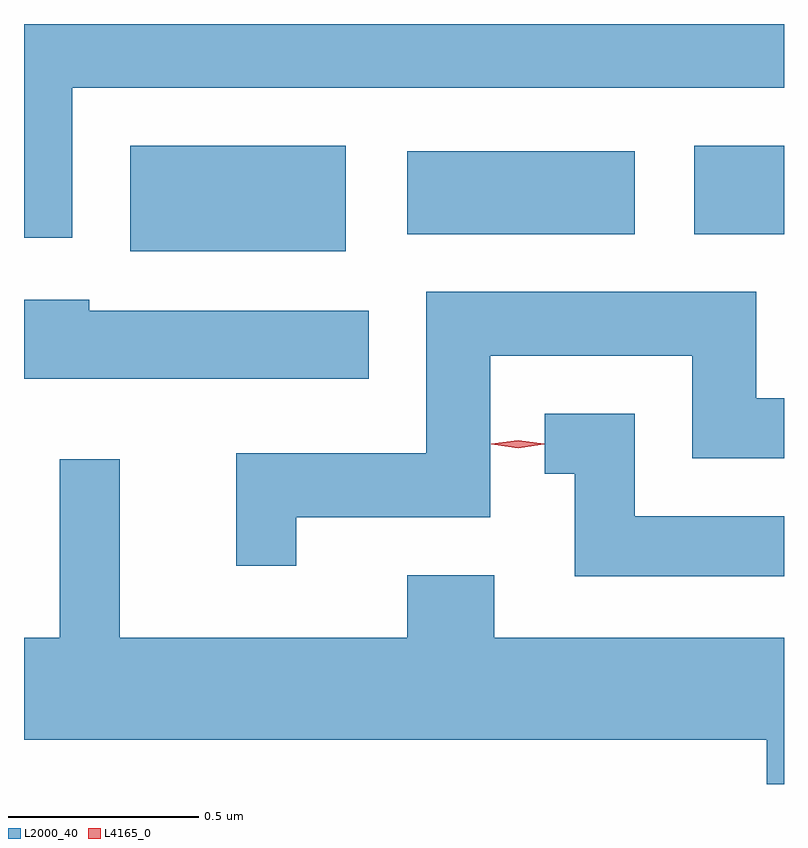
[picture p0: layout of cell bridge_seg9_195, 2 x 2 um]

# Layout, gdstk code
import gdstk
lib = gdstk.Library(unit=1e-6, precision=1e-09)
def R(c, l, rs):  # rectangles x0, y0, x1, y1
    for r in rs: c.add(gdstk.rectangle(r[:2], r[2:], *l))
def P(c, l, *ps):  # polygons
    for p in ps: c.add(gdstk.Polygon(p, *l))
L2000_40 = (2000, 40)
L4165_0 = (4165, 0)

bridge_seg9_195 = lib.new_cell('bridge_seg9_195')
R(bridge_seg9_195, L2000_40, [(1079.211,2061.921,1079.779,2062.199), (1079.941,2061.966,1080.539,2062.184), (1080.696,2061.966,1080.932,2062.199)])
P(bridge_seg9_195, L2000_40, [(1079.059,2062.351),(1080.932,2062.351),(1080.932,2062.519),(1078.932,2062.519),(1078.932,2061.956),(1079.059,2061.956)],
  [(1079.649,2061.221),(1080.159,2061.221),(1080.159,2061.646),(1080.691,2061.646),(1080.691,2061.376),(1080.932,2061.376),(1080.932,2061.534),(1080.859,2061.534),(1080.859,2061.814),(1079.991,2061.814),(1079.991,2061.389),(1079.491,2061.389),(1079.491,2061.093),(1079.649,2061.093)],
  [(1079.839,2061.764),(1079.104,2061.764),(1079.104,2061.794),(1078.932,2061.794),(1078.932,2061.586),(1079.839,2061.586)],
  [(1080.932,2061.224),(1080.539,2061.224),(1080.539,2061.494),(1080.303,2061.494),(1080.303,2061.336),(1080.381,2061.336),(1080.381,2061.066),(1080.932,2061.066)],
  [(1080.932,2060.904),(1080.169,2060.904),(1080.169,2061.069),(1079.941,2061.069),(1079.941,2060.904),(1079.184,2060.904),(1079.184,2061.373),(1079.026,2061.373),(1079.026,2060.904),(1078.932,2060.904),(1078.932,2060.636),(1080.886,2060.636),(1080.886,2060.519),(1080.932,2060.519)])
P(bridge_seg9_195, L4165_0, [(1080.232,2061.403),(1080.162,2061.413),(1080.162,2061.413),(1080.162,2061.414),(1080.232,2061.423),(1080.301,2061.414),(1080.301,2061.413),(1080.301,2061.413)])

lib.write_gds('bridge_seg9_195.gds')
